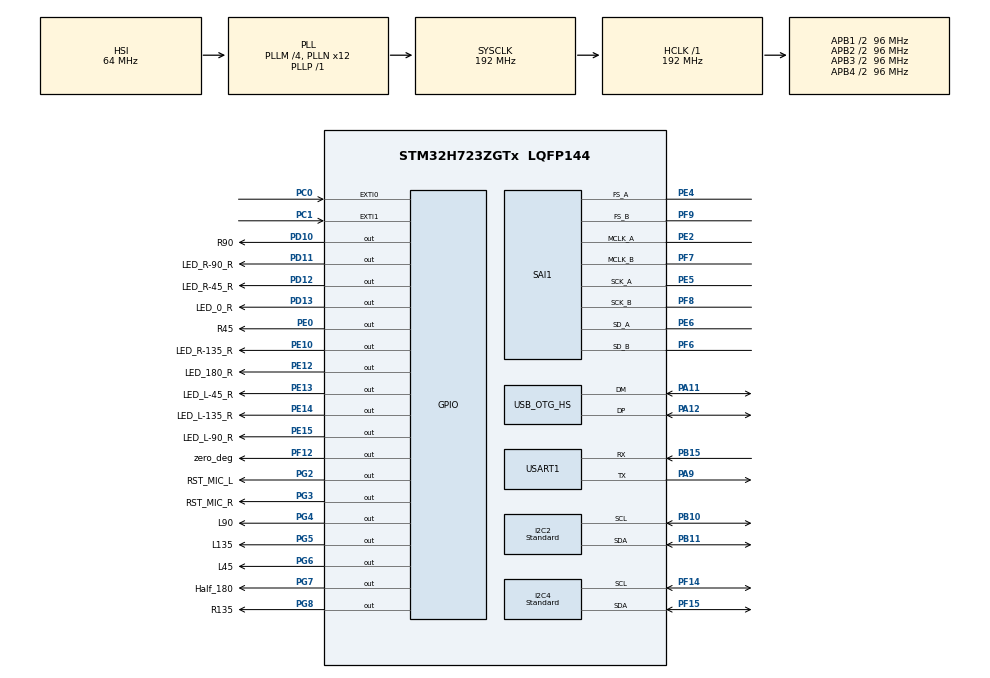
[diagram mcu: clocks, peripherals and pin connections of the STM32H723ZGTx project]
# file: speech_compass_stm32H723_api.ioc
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CORTEX_M7.CPU_DCache=Enabled
CORTEX_M7.CPU_ICache=Enabled
CORTEX_M7.default_mode_Activation=0
Dma.Request0=SAI1_A
Dma.Request1=SAI1_B
Dma.SAI1_A.0.Direction=DMA_PERIPH_TO_MEMORY
Dma.SAI1_A.0.EventEnable=DISABLE
Dma.SAI1_A.0.FIFOMode=DMA_FIFOMODE_DISABLE
Dma.SAI1_A.0.Instance=DMA1_Stream0
Dma.SAI1_A.0.MemDataAlignment=DMA_MDATAALIGN_HALFWORD
Dma.SAI1_A.0.MemInc=DMA_MINC_ENABLE
Dma.SAI1_A.0.Mode=DMA_CIRCULAR
Dma.SAI1_A.0.PeriphDataAlignment=DMA_PDATAALIGN_HALFWORD
Dma.SAI1_A.0.PeriphInc=DMA_PINC_DISABLE
Dma.SAI1_A.0.Polarity=HAL_DMAMUX_REQ_GEN_RISING
Dma.SAI1_A.0.Priority=DMA_PRIORITY_HIGH
Dma.SAI1_A.0.RequestNumber=1
Dma.SAI1_A.0.SignalID=NONE
Dma.SAI1_A.0.SyncEnable=DISABLE
Dma.SAI1_A.0.SyncPolarity=HAL_DMAMUX_SYNC_NO_EVENT
Dma.SAI1_A.0.SyncRequestNumber=1
Dma.SAI1_A.0.SyncSignalID=NONE
Dma.SAI1_B.1.Direction=DMA_PERIPH_TO_MEMORY
Dma.SAI1_B.1.EventEnable=DISABLE
Dma.SAI1_B.1.FIFOMode=DMA_FIFOMODE_DISABLE
Dma.SAI1_B.1.Instance=DMA1_Stream1
Dma.SAI1_B.1.MemDataAlignment=DMA_MDATAALIGN_HALFWORD
Dma.SAI1_B.1.MemInc=DMA_MINC_ENABLE
Dma.SAI1_B.1.Mode=DMA_CIRCULAR
Dma.SAI1_B.1.PeriphDataAlignment=DMA_PDATAALIGN_HALFWORD
Dma.SAI1_B.1.PeriphInc=DMA_PINC_DISABLE
Dma.SAI1_B.1.Polarity=HAL_DMAMUX_REQ_GEN_RISING
Dma.SAI1_B.1.Priority=DMA_PRIORITY_HIGH
Dma.SAI1_B.1.RequestNumber=1
Dma.SAI1_B.1.SignalID=NONE
Dma.SAI1_B.1.SyncEnable=DISABLE
Dma.SAI1_B.1.SyncPolarity=HAL_DMAMUX_SYNC_NO_EVENT
Dma.SAI1_B.1.SyncRequestNumber=1
Dma.SAI1_B.1.SyncSignalID=NONE
I2C2.I2C_Speed_Mode=I2C_Standard
I2C2.OwnAddress=44
I2C2.Timing=0x10B0DCFB
I2C4.I2C_Speed_Mode=I2C_Standard
I2C4.OwnAddress=44
I2C4.Timing=0x10B0DCFB
Mcu.Family=STM32H7
Mcu.Name=STM32H723ZGTx
Mcu.Package=LQFP144
NVIC.DMA1_Stream0_IRQn=true\:0\:0\:false\:false\:true\:false\:true\:true
NVIC.DMA1_Stream1_IRQn=true\:0\:0\:false\:false\:true\:false\:true\:true
NVIC.EXTI0_IRQn=true\:2\:0\:true\:false\:true\:true\:true\:true
NVIC.EXTI1_IRQn=true\:2\:0\:true\:false\:true\:true\:true\:true
NVIC.OTG_HS_IRQn=true\:5\:0\:true\:false\:true\:false\:true\:true
NVIC.PriorityGroup=NVIC_PRIORITYGROUP_4
NVIC.SAI1_IRQn=true\:1\:0\:true\:false\:true\:true\:true\:true
NVIC.USART1_IRQn=true\:6\:0\:true\:false\:true\:true\:true\:true
PA11.Mode=Device_Only_FS
PA11.Signal=USB_OTG_HS_DM
PA12.Mode=Device_Only_FS
PA12.Signal=USB_OTG_HS_DP
PA9.Mode=Asynchronous
PA9.Signal=USART1_TX
PB10.Mode=I2C
PB10.Signal=I2C2_SCL
PB11.Mode=I2C
PB11.Signal=I2C2_SDA
PB15.Mode=Asynchronous
PB15.Signal=USART1_RX
PC0.Signal=GPXTI0
PC1.Signal=GPXTI1
PD10.GPIO_Label=R90
PD10.Signal=GPIO_Output
PD11.GPIO_Label=LED_R-90_R
PD11.Signal=GPIO_Output
PD12.GPIO_Label=LED_R-45_R
PD12.Signal=GPIO_Output
PD13.GPIO_Label=LED_0_R
PD13.Signal=GPIO_Output
PE0.GPIO_Label=R45
PE0.Signal=GPIO_Output
PE10.GPIO_Label=LED_R-135_R
PE10.Signal=GPIO_Output
PE12.GPIO_Label=LED_180_R
PE12.Signal=GPIO_Output
PE13.GPIO_Label=LED_L-45_R
PE13.Signal=GPIO_Output
PE14.GPIO_Label=LED_L-135_R
PE14.Signal=GPIO_Output
PE15.GPIO_Label=LED_L-90_R
PE15.Signal=GPIO_Output
PE2.Mode=SAI_A_MasterWithClock
PE2.Signal=SAI1_MCLK_A
PE4.Mode=SAI_A_MasterWithClock
PE4.Signal=SAI1_FS_A
PE5.Mode=SAI_A_MasterWithClock
PE5.Signal=SAI1_SCK_A
PE6.Mode=SAI_A_MasterWithClock
PE6.Signal=SAI1_SD_A
PF12.GPIO_Label=zero_deg
PF12.Signal=GPIO_Output
PF14.Mode=I2C
PF14.Signal=I2C4_SCL
PF15.Mode=I2C
PF15.Signal=I2C4_SDA
PF6.Mode=SAI_B_MasterWithClock
PF6.Signal=SAI1_SD_B
PF7.Mode=SAI_B_MasterWithClock
PF7.Signal=SAI1_MCLK_B
PF8.Mode=SAI_B_MasterWithClock
PF8.Signal=SAI1_SCK_B
PF9.Mode=SAI_B_MasterWithClock
PF9.Signal=SAI1_FS_B
PG2.GPIO_Label=RST_MIC_L
PG2.Signal=GPIO_Output
PG3.GPIO_Label=RST_MIC_R
PG3.Signal=GPIO_Output
PG4.GPIO_Label=L90
PG4.Signal=GPIO_Output
PG5.GPIO_Label=L135
PG5.Signal=GPIO_Output
PG6.GPIO_Label=L45
PG6.Signal=GPIO_Output
PG7.GPIO_Label=Half_180
PG7.Signal=GPIO_Output
PG8.GPIO_Label=R135
PG8.Signal=GPIO_Output
ProjectManager.HeapSize=0x8000
ProjectManager.StackSize=0x2000
ProjectManager.TargetToolchain=STM32CubeIDE
RCC.ADCFreq_Value=49140000
RCC.APB1Freq_Value=96000000
RCC.APB2Freq_Value=96000000
RCC.APB3Freq_Value=96000000
RCC.APB4Freq_Value=96000000
RCC.CortexFreq_Value=192000000
RCC.D1PPRE=RCC_APB3_DIV2
RCC.D2PPRE1=RCC_APB1_DIV2
RCC.D2PPRE2=RCC_APB2_DIV2
RCC.D3PPRE=RCC_APB4_DIV2
RCC.DIVM1=4
RCC.DIVM2=5
RCC.DIVM3=14
RCC.DIVN1=12
RCC.DIVN2=19
RCC.DIVN3=139
RCC.DIVP1=1
RCC.DIVP2=5
RCC.DIVP3=13
RCC.HCLKFreq_Value=192000000
RCC.PLL2FRACN=1600
RCC.PLL3FRACN=6357
RCC.PLLFRACN=0
RCC.SAI1CLockSelection=RCC_SAI1CLKSOURCE_PLL3
RCC.SYSCLKFreq_VALUE=192000000
RCC.SYSCLKSource=RCC_SYSCLKSOURCE_PLLCLK
RCC.USBCLockSelection=RCC_USBCLKSOURCE_HSI48
RCC.USBFreq_Value=48000000
SAI1.AudioFrequency-SAI_A_MasterWithClock=SAI_AUDIO_FREQUENCY_16K
SAI1.AudioFrequency-SAI_B_MasterWithClock=SAI_AUDIO_FREQUENCY_16K
SAI1.AudioMode-SAI_A_MasterWithClock=SAI_MODEMASTER_RX
SAI1.AudioMode-SAI_B_MasterWithClock=SAI_MODEMASTER_RX
SAI1.DataSize-SAI_A_MasterWithClock=SAI_DATASIZE_16
SAI1.DataSize-SAI_B_MasterWithClock=SAI_DATASIZE_16
SAI1.ErrorAudioFreq-SAI_A_MasterWithClock=0.0 %
SAI1.ErrorAudioFreq-SAI_B_MasterWithClock=0.0 %
SAI1.FSPolarity-SAI_A_MasterWithClock=SAI_FS_ACTIVE_HIGH
SAI1.FSPolarity-SAI_B_MasterWithClock=SAI_FS_ACTIVE_HIGH
SAI1.FrameLength-SAI_A_MasterWithClock=64
SAI1.FrameLength-SAI_B_MasterWithClock=64
SAI1.Instance-SAI_A_MasterWithClock=SAI$Index_Block_A
SAI1.Instance-SAI_B_MasterWithClock=SAI$Index_Block_B
SAI1.MckOutput-SAI_A_MasterWithClock=SAI_MCK_OUTPUT_ENABLE
SAI1.MckOutput-SAI_B_MasterWithClock=SAI_MCK_OUTPUT_ENABLE
SAI1.RealAudioFreq-SAI_A_MasterWithClock=16.0 KHz
SAI1.RealAudioFreq-SAI_B_MasterWithClock=16.0 KHz
SAI1.SlotActive-SAI_A_MasterWithClock=0x0000000F
SAI1.SlotActive-SAI_B_MasterWithClock=0x0000000F
SAI1.SlotNumber-SAI_A_MasterWithClock=4
SAI1.SlotNumber-SAI_B_MasterWithClock=4
SAI1.SlotSize-SAI_A_MasterWithClock=SAI_SLOTSIZE_16B
SAI1.SlotSize-SAI_B_MasterWithClock=SAI_SLOTSIZE_16B
SAI1.VirtualMode-SAI_A_MasterWithClock=VM_MASTER
SAI1.VirtualMode-SAI_B_MasterWithClock=VM_MASTER
SAI1.VirtualSlotActive-SAI_A_MasterWithClock=SAI_SLOT_USERSETTING
SAI1.VirtualSlotActive-SAI_B_MasterWithClock=SAI_SLOT_USERSETTING
SAI1.VirtualSlotActive0-SAI_A_MasterWithClock=true
SAI1.VirtualSlotActive0-SAI_B_MasterWithClock=true
SAI1.VirtualSlotActive1-SAI_A_MasterWithClock=true
SAI1.VirtualSlotActive1-SAI_B_MasterWithClock=true
SAI1.VirtualSlotActive2-SAI_A_MasterWithClock=true
SAI1.VirtualSlotActive2-SAI_B_MasterWithClock=true
SAI1.VirtualSlotActive3-SAI_A_MasterWithClock=true
SAI1.VirtualSlotActive3-SAI_B_MasterWithClock=true
USART1.VirtualMode-Asynchronous=VM_ASYNC
USB_DEVICE.CLASS_NAME_HS=CDC
USB_DEVICE.VirtualMode=Cdc
USB_DEVICE.VirtualModeHS=Cdc_HS
USB_OTG_HS.VirtualMode-Device_Only_FS=Device_Only_FS
VP_MEMORYMAP_VS_MEMORYMAP.Mode=CurAppReg
VP_USB_DEVICE_VS_USB_DEVICE_CDC_HS.Mode=CDC_HS
board=custom

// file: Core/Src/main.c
/* USER CODE BEGIN Header */
/**
  ******************************************************************************
  * @file           : main.c
  * @brief          : Main program body
  ******************************************************************************
  * @attention
  *
  * Copyright (c) 2025 STMicroelectronics.
  * All rights reserved.
  *
  * This software is licensed under terms that can be found in the LICENSE file
  * in the root directory of this software component.
  * If no LICENSE file comes with this software, it is provided AS-IS.
  *
  ******************************************************************************
  */
/* USER CODE END Header */
#include "main.h"
#include "dma.h"
#include "i2c.h"
#include "sai.h"
#include "usart.h"
#include "usb_device.h"
#include "gpio.h"

/* USER CODE BEGIN Includes */
#include "PCMD3180.h"
#include "AcousticSL_Process.h"
#include "acoustic_sl.h"
#include "LED.h"
#include "usbd_cdc_if.h"
#include <string.h>
#include "usbd_def.h"
/* USER CODE END Includes */

/* USER CODE BEGIN PM */
#define FRAME_SIZE_MS                (AUDIO_IN_SAMPLING_FREQUENCY / 1000U)    // 채널당 1ms 샘플 수
#define PCM_FRAME_SIZE               (AUDIO_IN_CHANNELS * FRAME_SIZE_MS)      // 1ms 전체(4ch)
#define SAI_RX_BUF_LEN               (PCM_FRAME_SIZE * 2U)   // half + full

#define CACHE_LINE 32

__attribute__((section(".RAM_D2"), aligned(CACHE_LINE)))
uint16_t SAI_L_Rx_Buffer[SAI_RX_BUF_LEN];

__attribute__((section(".RAM_D2"), aligned(CACHE_LINE)))
uint16_t SAI_R_Rx_Buffer[SAI_RX_BUF_LEN];

__attribute__((aligned(CACHE_LINE)))
uint16_t sai_safe_buf[PCM_FRAME_SIZE];

__attribute__((aligned(CACHE_LINE)))
uint16_t sai_safe_buf1[PCM_FRAME_SIZE];
/* USER CODE END PM */

/* USER CODE BEGIN PV */
volatile uint8_t sai_rx_half_flag = 0;
volatile uint8_t sai_rx_full_flag = 0;

extern UART_HandleTypeDef huart1;   // 이미 usart.c에 있음

uint8_t rx_byte;                    // 1바이트 수신 버퍼
char cmd_buf[64];                   // 명령어 버퍼
uint8_t cmd_idx = 0;
volatile uint8_t cmd_ready = 0;     // 한 줄 완성 플래그

volatile uint8_t SAI_HALF_L = 0;
volatile uint8_t SAI_HALF_R = 0;
volatile uint8_t SAI_FULL_L = 0;
volatile uint8_t SAI_FULL_R = 0;

/* USER CODE END PV */

void SystemClock_Config(void);
void PeriphCommonClock_Config(void);
/* USER CODE BEGIN PFP */
void SAI1_DMA_Start(void);
void USART1_INT_Start(void);
/* USER CODE END PFP */

/* USER CODE BEGIN 0 */
int _write(int fd, char *ptr, int len)
{
  (void)fd;
  CDC_Transmit_HS((uint8_t*)ptr, len);
  HAL_Delay(1);
  return len;
}

uint8_t CDC_Transmit_HS_Blocking(uint8_t *Buf, uint16_t Len, uint32_t timeout_ms)
{
    uint32_t start = HAL_GetTick();
    uint8_t  result;

    do
    {
        result = CDC_Transmit_HS(Buf, Len);
        if (result == USBD_OK)
        {
            return USBD_OK;   // 성공
        }

        // BUSY면 잠깐 쉬어줌 (IRQ가 도는 시간 확보)
        if (result == USBD_BUSY)
        {
            // 너무 오래 기다리는 건 방지
            if ((HAL_GetTick() - start) > timeout_ms)
            {
                return USBD_BUSY;  // 타임아웃
            }
            HAL_Delay(1);
        }
        else
        {
            // USBD_FAIL 등
            return result;
        }

    } while (1);
}

void SAI1_DMA_Start(void)
{
	if (HAL_SAI_Receive_DMA(&hsai_BlockA1, (uint8_t*)SAI_L_Rx_Buffer, SAI_RX_BUF_LEN) != HAL_OK)
		Error_Handler();
	if (HAL_SAI_Receive_DMA(&hsai_BlockB1, (uint8_t*)SAI_R_Rx_Buffer, SAI_RX_BUF_LEN) != HAL_OK)
		Error_Handler();
}

void USART1_INT_Start(void)
{
	HAL_UART_Receive_IT(&huart1, &rx_byte, 1);
}

void uart_send_str(const char *s)
{
  HAL_UART_Transmit(&huart1, (uint8_t *)s, strlen(s), 100);
}
/* USER CODE END 0 */

int main(void)
{

  /* Enable the CPU Cache */

  /* Enable I-Cache---------------------------------------------------------*/
  SCB_EnableICache();

  /* Enable D-Cache---------------------------------------------------------*/
  SCB_EnableDCache();

  /* MCU Configuration--------------------------------------------------------*/

  /* Reset of all peripherals, Initializes the Flash interface and the Systick. */
  HAL_Init();

  /* Configure the system clock */
  SystemClock_Config();

  /* Configure the peripherals common clocks */
  PeriphCommonClock_Config();

  /* Initialize all configured peripherals */
  MX_GPIO_Init();
  MX_DMA_Init();
  MX_I2C2_Init();
  MX_SAI1_Init();
  MX_USART1_UART_Init();
  MX_USB_DEVICE_Init();
  MX_I2C4_Init();
  /* USER CODE BEGIN 2 */
  LED_L_Init();
  LED_R_Init();
  USART1_INT_Start();
  pcmd3180_init();

  HAL_NVIC_DisableIRQ(EXTI0_IRQn);
  HAL_NVIC_DisableIRQ(EXTI1_IRQn);

  Audio_Libraries_L_Init();
  Audio_Libraries_R_Init();

  HAL_NVIC_ClearPendingIRQ(EXTI0_IRQn);
  HAL_NVIC_ClearPendingIRQ(EXTI1_IRQn);
  HAL_NVIC_EnableIRQ(EXTI0_IRQn);
  HAL_NVIC_EnableIRQ(EXTI1_IRQn);

  SAI1_DMA_Start();

  printf("start\r\n");
  /* USER CODE END 2 */

  /* Infinite loop */
  /* USER CODE BEGIN WHILE */
  while (1)
  {

	  if(SAI_HALF_L)
	  {
		  SAI_HALF_L = 0;
		  AudioProcess_L();
	  }

	  if(SAI_FULL_L)
	  {
		  SAI_FULL_L = 0;
		  AudioProcess_L();
	  }

	  if(SAI_HALF_R)
	  {
		  SAI_HALF_R = 0;
		  AudioProcess_R();
	  }

	  if(SAI_FULL_R)
	  {
		  SAI_FULL_R = 0;
		  AudioProcess_R();
	  }
    /* USER CODE END WHILE */

    /* USER CODE BEGIN 3 */
#ifdef uart1_cli
	  if (cmd_ready)
	  {
		cmd_ready = 0;
		handle_command(cmd_buf);
		uart_send_str("> ");
	  }
#endif
  }
  /* USER CODE END 3 */
}

void SystemClock_Config(void)
{
  RCC_OscInitTypeDef RCC_OscInitStruct = {0};
  RCC_ClkInitTypeDef RCC_ClkInitStruct = {0};

  /** Supply configuration update enable
  */
  HAL_PWREx_ConfigSupply(PWR_LDO_SUPPLY);

  /** Configure the main internal regulator output voltage
  */
  __HAL_PWR_VOLTAGESCALING_CONFIG(PWR_REGULATOR_VOLTAGE_SCALE1);

  while(!__HAL_PWR_GET_FLAG(PWR_FLAG_VOSRDY)) {}

  /** Initializes the RCC Oscillators according to the specified parameters
  * in the RCC_OscInitTypeDef structure.
  */
  RCC_OscInitStruct.OscillatorType = RCC_OSCILLATORTYPE_HSI48|RCC_OSCILLATORTYPE_HSI;
  RCC_OscInitStruct.HSIState = RCC_HSI_DIV1;
  RCC_OscInitStruct.HSICalibrationValue = 64;
  RCC_OscInitStruct.HSI48State = RCC_HSI48_ON;
  RCC_OscInitStruct.PLL.PLLState = RCC_PLL_ON;
  RCC_OscInitStruct.PLL.PLLSource = RCC_PLLSOURCE_HSI;
  RCC_OscInitStruct.PLL.PLLM = 4;
  RCC_OscInitStruct.PLL.PLLN = 12;
  RCC_OscInitStruct.PLL.PLLP = 1;
  RCC_OscInitStruct.PLL.PLLQ = 2;
  RCC_OscInitStruct.PLL.PLLR = 2;
  RCC_OscInitStruct.PLL.PLLRGE = RCC_PLL1VCIRANGE_3;
  RCC_OscInitStruct.PLL.PLLVCOSEL = RCC_PLL1VCOWIDE;
  RCC_OscInitStruct.PLL.PLLFRACN = 0;
  if (HAL_RCC_OscConfig(&RCC_OscInitStruct) != HAL_OK)
  {
    Error_Handler();
  }

  /** Initializes the CPU, AHB and APB buses clocks
  */
  RCC_ClkInitStruct.ClockType = RCC_CLOCKTYPE_HCLK|RCC_CLOCKTYPE_SYSCLK
                              |RCC_CLOCKTYPE_PCLK1|RCC_CLOCKTYPE_PCLK2
                              |RCC_CLOCKTYPE_D3PCLK1|RCC_CLOCKTYPE_D1PCLK1;
  RCC_ClkInitStruct.SYSCLKSource = RCC_SYSCLKSOURCE_PLLCLK;
  RCC_ClkInitStruct.SYSCLKDivider = RCC_SYSCLK_DIV1;
  RCC_ClkInitStruct.AHBCLKDivider = RCC_HCLK_DIV1;
  RCC_ClkInitStruct.APB3CLKDivider = RCC_APB3_DIV2;
  RCC_ClkInitStruct.APB1CLKDivider = RCC_APB1_DIV2;
  RCC_ClkInitStruct.APB2CLKDivider = RCC_APB2_DIV2;
  RCC_ClkInitStruct.APB4CLKDivider = RCC_APB4_DIV2;

  if (HAL_RCC_ClockConfig(&RCC_ClkInitStruct, FLASH_LATENCY_2) != HAL_OK)
  {
    Error_Handler();
  }
}

void PeriphCommonClock_Config(void)
{
  RCC_PeriphCLKInitTypeDef PeriphClkInitStruct = {0};

  /** Initializes the peripherals clock
  */
  PeriphClkInitStruct.PeriphClockSelection = RCC_PERIPHCLK_SAI1;
  PeriphClkInitStruct.PLL3.PLL3M = 14;
  PeriphClkInitStruct.PLL3.PLL3N = 139;
  PeriphClkInitStruct.PLL3.PLL3P = 13;
  PeriphClkInitStruct.PLL3.PLL3Q = 2;
  PeriphClkInitStruct.PLL3.PLL3R = 2;
  PeriphClkInitStruct.PLL3.PLL3RGE = RCC_PLL3VCIRANGE_2;
  PeriphClkInitStruct.PLL3.PLL3VCOSEL = RCC_PLL3VCOWIDE;
  PeriphClkInitStruct.PLL3.PLL3FRACN = 6357;
  PeriphClkInitStruct.Sai1ClockSelection = RCC_SAI1CLKSOURCE_PLL3;
  if (HAL_RCCEx_PeriphCLKConfig(&PeriphClkInitStruct) != HAL_OK)
  {
    Error_Handler();
  }
}

/* USER CODE BEGIN 4 */
void HAL_UART_RxCpltCallback(UART_HandleTypeDef *huart)
{
  if (huart->Instance == USART1)
  {
    // 개행 문자 들어오면 명령 한 줄 완성
    if (rx_byte == '\r' || rx_byte == '\n')
    {
      if (cmd_idx > 0)
      {
        cmd_buf[cmd_idx] = '\0';  // 문자열 종료
        cmd_ready = 1;
        cmd_idx = 0;
        uart_send_str("\r\n");
      }
      else
      {
        // 빈 줄일 때는 그냥 프롬프트만 내보냄
        uart_send_str("\r\n> ");
      }
    }
    else
    {
      // 일반 문자일 때 버퍼에 저장
      if (cmd_idx < sizeof(cmd_buf) - 1)
      {
        cmd_buf[cmd_idx++] = rx_byte;
        // 에코 (입력한 문자 다시 보내기)
        HAL_UART_Transmit(&huart1, &rx_byte, 1, 10);
      }
    }

    // 다음 1바이트 수신 재시작
    HAL_UART_Receive_IT(&huart1, &rx_byte, 1);
  }
}

void HAL_SAI_RxHalfCpltCallback(SAI_HandleTypeDef *hsai)
{
	if (hsai->Instance == SAI1_Block_A)
	{
		SCB_InvalidateDCache_by_Addr((uint32_t*)&SAI_L_Rx_Buffer[0], PCM_FRAME_SIZE * sizeof(uint16_t));
		Audio_FillFromI2S(&SAI_L_Rx_Buffer[0], 4, PCM_Buffer_L);
//		AudioProcess_L();
		SAI_HALF_L = 1;

	}

	if (hsai->Instance == SAI1_Block_B)
	{
		SCB_InvalidateDCache_by_Addr((uint32_t*)&SAI_R_Rx_Buffer[0], PCM_FRAME_SIZE * sizeof(uint16_t));
		Audio_FillFromI2S(&SAI_R_Rx_Buffer[0], 4, PCM_Buffer_R);
//		AudioProcess_R();
		SAI_HALF_R = 1;
	}
}

void HAL_SAI_RxCpltCallback(SAI_HandleTypeDef *hsai)
{
	if (hsai->Instance == SAI1_Block_A)
	{
		SCB_InvalidateDCache_by_Addr((uint32_t*)&SAI_L_Rx_Buffer[PCM_FRAME_SIZE], PCM_FRAME_SIZE * sizeof(uint16_t));
		Audio_FillFromI2S(&SAI_L_Rx_Buffer[PCM_FRAME_SIZE], 4, PCM_Buffer_L);
//		AudioProcess_L();
		SAI_FULL_L = 1;
	}

	if (hsai->Instance == SAI1_Block_B)
	{
		SCB_InvalidateDCache_by_Addr((uint32_t*)&SAI_R_Rx_Buffer[PCM_FRAME_SIZE], PCM_FRAME_SIZE * sizeof(uint16_t));
		Audio_FillFromI2S(&SAI_R_Rx_Buffer[PCM_FRAME_SIZE], 4, PCM_Buffer_R);
//		AudioProcess_R();
		SAI_FULL_R = 1;
	}
}
/* USER CODE END 4 */

void Error_Handler(void)
{
  __disable_irq();
  while (1)
  {
  }
}
